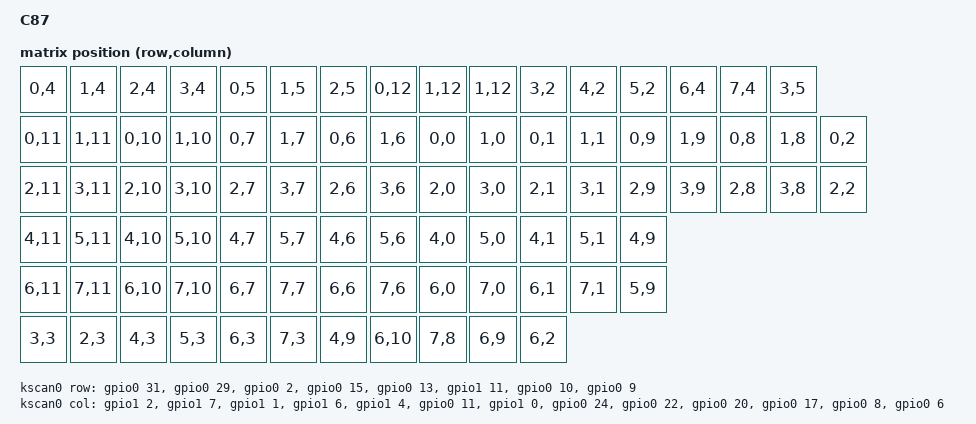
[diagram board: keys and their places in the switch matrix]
/dts-v1/;
#include <nordic/nrf52840_qiaa.dtsi>
#include "c87-pinctrl.dtsi"
#include <dt-bindings/led/led.h>
#include <dt-bindings/zmk/matrix_transform.h>
#include <dt-bindings/zmk/outputs.h>

/ {
	model = "C87";
	compatible = "C87";

	chosen {
        zephyr,code-partition = &code_partition;
        zephyr,sram = &sram0;
        zephyr,flash = &flash0;
        zephyr,console = &cdc_acm_uart;
        zmk,battery = &vbatt;
        zmk,kscan = &kscan0;
        zmk,matrix_transform = &default_transform;
	};

	default_transform: keymap_transform_0 {
        compatible = "zmk,matrix-transform";
        columns = <13>;
        rows = <8>;

        map = <
            RC(0,4) RC(1,4) RC(2,4) RC(3,4) RC(0,5) RC(1,5) RC(2,5) RC(0,12) RC(1,12) RC(1,12) RC(3,2) RC(4,2) RC(5,2) RC(6,4) RC(7,4) RC(3,5)
            RC(0,11) RC(1,11) RC(0,10) RC(1,10) RC(0,7) RC(1,7) RC(0,6) RC(1,6) RC(0,0) RC(1,0) RC(0,1) RC(1,1) RC(0,9) RC(1,9) RC(0,8) RC(1,8) RC(0,2)
            RC(2,11) RC(3,11) RC(2,10) RC(3,10) RC(2,7) RC(3,7) RC(2,6) RC(3,6) RC(2,0) RC(3,0) RC(2,1) RC(3,1) RC(2,9) RC(3,9) RC(2,8) RC(3,8) RC(2,2)
            RC(4,11) RC(5,11) RC(4,10) RC(5,10) RC(4,7) RC(5,7) RC(4,6) RC(5,6) RC(4,0) RC(5,0) RC(4,1) RC(5,1) RC(4,9)
            RC(6,11) RC(7,11) RC(6,10) RC(7,10) RC(6,7) RC(7,7) RC(6,6) RC(7,6) RC(6,0) RC(7,0) RC(6,1) RC(7,1) RC(5,9)
            RC(3,3) RC(2,3) RC(4,3) RC(5,3) RC(6,3) RC(7,3) RC(4,9) RC(6,10) RC(7,8) RC(6,9) RC(6,2)
        >;
    };

	kscan0: kscan_0 {
        compatible = "zmk,kscan-gpio-matrix";
        label = "KSCAN";
        diode-direction = "row2col";
        wakeup-source;

        row-gpios
			= <&gpio0 31 (GPIO_ACTIVE_HIGH | GPIO_PULL_DOWN)>
			, <&gpio0 29 (GPIO_ACTIVE_HIGH | GPIO_PULL_DOWN)>
			, <&gpio0 2  (GPIO_ACTIVE_HIGH | GPIO_PULL_DOWN)>
			, <&gpio0 15  (GPIO_ACTIVE_HIGH | GPIO_PULL_DOWN)>
			, <&gpio0 13  (GPIO_ACTIVE_HIGH | GPIO_PULL_DOWN)>
			, <&gpio1 11  (GPIO_ACTIVE_HIGH | GPIO_PULL_DOWN)>
			, <&gpio0 10  (GPIO_ACTIVE_HIGH | GPIO_PULL_DOWN)>
			, <&gpio0 9  (GPIO_ACTIVE_HIGH | GPIO_PULL_DOWN)>
			;
		col-gpios
			= <&gpio1 2 GPIO_ACTIVE_HIGH>
			, <&gpio1 7  GPIO_ACTIVE_HIGH>
			, <&gpio1 1 GPIO_ACTIVE_HIGH>
			, <&gpio1 6 GPIO_ACTIVE_HIGH>
			, <&gpio1 4 GPIO_ACTIVE_HIGH>
			, <&gpio0 11 GPIO_ACTIVE_HIGH>
			, <&gpio1 0 GPIO_ACTIVE_HIGH>
			, <&gpio0 24  GPIO_ACTIVE_HIGH>
			, <&gpio0 22 GPIO_ACTIVE_HIGH>
			, <&gpio0 20 GPIO_ACTIVE_HIGH>
			, <&gpio0 17 GPIO_ACTIVE_HIGH>
            , <&gpio0 8 GPIO_ACTIVE_HIGH>
            , <&gpio0 6 GPIO_ACTIVE_HIGH>
			;
	};

	vbatt: vbatt {
		compatible = "zmk,battery-voltage-divider";
		label = "BATTERY";
		io-channels = <&adc 2>;
		output-ohms = <2000000>;
		full-ohms = <(2000000 + 10000)>;
	};
};

&adc {
	status = "okay";
};

&gpiote {
	status = "okay";
};

&gpio0 {
	status = "okay";
};

&gpio1 {
	status = "okay"; 
};

&usbd {
    status = "okay";
    cdc_acm_uart: cdc_acm_uart {
        compatible = "zephyr,cdc-acm-uart";
        label = "CDC_ACM_0";
    };
};

&flash0 {
	/*
	 * For more information, see:
	 * http://docs.zephyrproject.org/latest/devices/dts/flash_partitions.html
	 */
	partitions {
		compatible = "fixed-partitions";
		#address-cells = <1>;
		#size-cells = <1>;

		sd_partition: partition@0 {
			label = "softdevice";
			reg = <0x00000000 0x00026000>;
		};
		code_partition: partition@26000 {
			label = "code_partition";
			reg = <0x00026000 0x00046000>;
		};

		/*
		 * The flash starting at 0x0006c000 and ending at
		 * 0x00073fff is reserved for use by the application.
		 */

		/*
		 * Storage partition will be used by FCB/LittleFS/NVS
		 * if enabled.
		 */
		storage_partition: partition@6c000 {
			label = "storage";
			reg = <0x0006c000 0x00008000>;
		};

		boot_partition: partition@74000 {
			label = "adafruit_boot";
			reg = <0x00074000 0x0000c000>;
		};
	};
};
